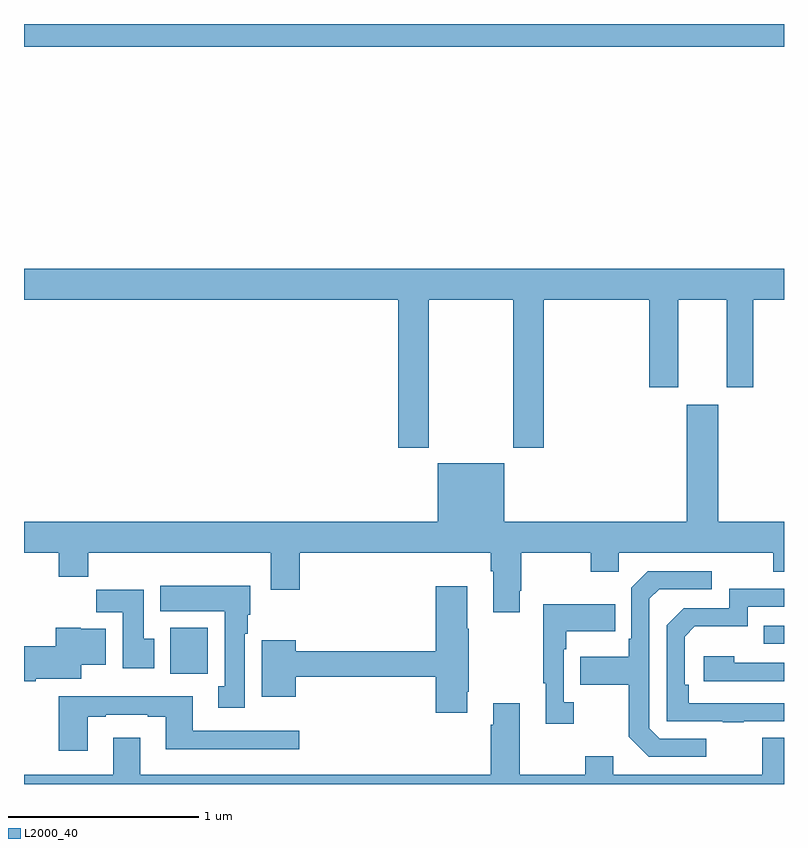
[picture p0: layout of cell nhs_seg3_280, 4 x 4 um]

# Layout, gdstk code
import gdstk
lib = gdstk.Library(unit=1e-6, precision=1e-09)
def R(c, l, rs):  # rectangles x0, y0, x1, y1
    for r in rs: c.add(gdstk.rectangle(r[:2], r[2:], *l))
def P(c, l, *ps):  # polygons
    for p in ps: c.add(gdstk.Polygon(p, *l))
L2000_40 = (2000, 40)

nhs_seg3_280 = lib.new_cell('nhs_seg3_280')
R(nhs_seg3_280, L2000_40, [(125.771,666.98,125.968,667.222), (128.893,667.137,129,667.233), (125,670.28,129,670.4)])
P(nhs_seg3_280, L2000_40, [(127.131,668.948),(127.576,668.948),(127.576,668.169),(127.736,668.169),(127.736,668.948),(128.291,668.948),(128.291,668.487),(128.443,668.487),(128.443,668.948),(128.699,668.948),(128.699,668.487),(128.839,668.487),(128.839,668.948),(129,668.948),(129,669.112),(125,669.112),(125,668.948),(126.971,668.948),(126.971,668.169),(127.131,668.169)],
  [(127.609,667.417),(127.617,667.417),(127.617,667.616),(127.984,667.616),(127.984,667.517),(128.13,667.517),(128.13,667.616),(128.944,667.616),(128.944,667.517),(129,667.517),(129,667.78),(128.653,667.78),(128.653,668.395),(128.489,668.395),(128.489,667.78),(127.528,667.78),(127.528,668.089),(127.178,668.089),(127.178,667.78),(125,667.78),(125,667.616),(125.183,667.616),(125.183,667.492),(125.339,667.492),(125.339,667.616),(126.299,667.616),(126.299,667.422),(126.452,667.422),(126.452,667.616),(127.457,667.616),(127.457,667.52),(127.469,667.52),(127.469,667.305),(127.609,667.305)],
  [(128.59,666.639),(128.346,666.639),(128.292,666.693),(128.292,667.374),(128.343,667.425),(128.62,667.425),(128.62,667.521),(128.283,667.521),(128.196,667.434),(128.196,667.165),(128.184,667.165),(128.184,667.069),(127.927,667.069),(127.927,666.922),(128.184,666.922),(128.184,666.649),(128.289,666.543),(128.59,666.543)],
  [(126.163,667.19),(126.178,667.19),(126.178,667.29),(126.19,667.29),(126.19,667.444),(125.717,667.444),(125.717,667.31),(126.056,667.31),(126.056,666.914),(126.023,666.914),(126.023,666.801),(126.163,666.801)],
  [(127.333,666.886),(127.341,666.886),(127.341,667.217),(127.333,667.217),(127.333,667.441),(127.166,667.441),(127.166,667.1),(126.43,667.1),(126.43,667.156),(126.251,667.156),(126.251,666.86),(126.43,666.86),(126.43,666.964),(127.166,666.964),(127.166,666.774),(127.333,666.774)],
  [(128.789,666.729),(129,666.729),(129,666.825),(128.498,666.825),(128.498,666.922),(128.478,666.922),(128.478,667.176),(128.531,667.229),(128.808,667.229),(128.808,667.332),(129,667.332),(129,667.428),(128.712,667.428),(128.712,667.326),(128.472,667.326),(128.382,667.236),(128.382,666.729),(128.677,666.729),(128.677,666.724),(128.789,666.724)],
  [(125.686,667.164),(125.629,667.164),(125.629,667.423),(125.38,667.423),(125.38,667.304),(125.519,667.304),(125.519,667.008),(125.686,667.008)],
  [(127.894,666.83),(127.842,666.83),(127.842,667.109),(127.855,667.109),(127.855,667.205),(128.111,667.205),(128.111,667.345),(127.734,667.345),(127.734,666.929),(127.745,666.929),(127.745,666.717),(127.894,666.717)],
  [(125.062,666.953),(125.302,666.953),(125.302,667.028),(125.431,667.028),(125.431,667.216),(125.298,667.216),(125.298,667.222),(125.168,667.222),(125.168,667.124),(125,667.124),(125,666.941),(125.062,666.941)],
  [(129,667.038),(128.738,667.038),(128.738,667.072),(128.577,667.072),(128.577,666.942),(129,666.942)],
  [(125.335,666.753),(125.431,666.753),(125.431,666.765),(125.651,666.765),(125.651,666.753),(125.747,666.753),(125.747,666.584),(126.448,666.584),(126.448,666.681),(125.887,666.681),(125.887,666.862),(125.183,666.862),(125.183,666.576),(125.335,666.576)],
  [(129,666.643),(128.885,666.643),(128.885,666.448),(128.101,666.448),(128.101,666.547),(127.954,666.547),(127.954,666.448),(127.609,666.448),(127.609,666.826),(127.469,666.826),(127.469,666.713),(127.457,666.713),(127.457,666.448),(125.611,666.448),(125.611,666.643),(125.471,666.643),(125.471,666.448),(125,666.448),(125,666.4),(129,666.4)])

lib.write_gds('nhs_seg3_280.gds')
